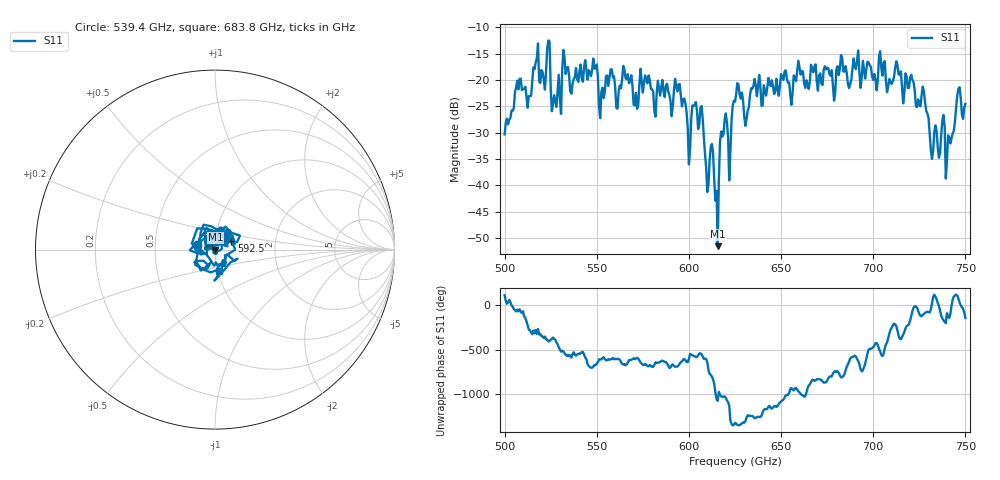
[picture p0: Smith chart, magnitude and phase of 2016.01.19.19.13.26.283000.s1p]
!Created with skrf (http://scikit-rf.org).
# GHz S RI R 50.0
!freq ReS11 ImS11
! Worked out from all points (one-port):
!   401 points, 500 GHz to 750 GHz, reference 50 ohm
!   lowest |S11| = -51.5 dB at 615.6 GHz (marker M1), VSWR 1.01, Z = 50.3 + j0.0285 ohm
!   |S11| at or under -10 dB: start of sweep to end of sweep
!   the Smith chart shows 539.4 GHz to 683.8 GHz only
!   S11 on the Smith chart (normalised r, x): 539.4 GHz: 0.82, +0.04; 592.5 GHz: 1.19, +0.12; 683.8 GHz: 1.02, -0.25
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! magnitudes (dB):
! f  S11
! 500 GHz  -30.3
! 507.5 GHz  -21.8
! 513.1 GHz  -23.1
! 516.9 GHz  -16.7
! 523.8 GHz  -12.5
! 526.9 GHz  -22.9
! 531.2 GHz  -18.0
! 539.4 GHz  -19.9
! 562.5 GHz  -21.1
! 592.5 GHz  -19.8
! 593.8 GHz  -22.2
! 600 GHz  -36.0
! 606.9 GHz  -24.9
! 609.4 GHz  -36.8
! 612.5 GHz  -32.1
! 615.6 GHz  -51.5
! 618.1 GHz  -30.7
! 621.9 GHz  -39.1
! 625 GHz  -24.1
! 656.2 GHz  -22.4
! 683.8 GHz  -18.4
! 687.5 GHz  -20.8
! 718.8 GHz  -21.5
! 727.5 GHz  -22.2
! 731.9 GHz  -35.0
! 740.6 GHz  -30.5
! 746.2 GHz  -21.7
! 750 GHz  -24.5
